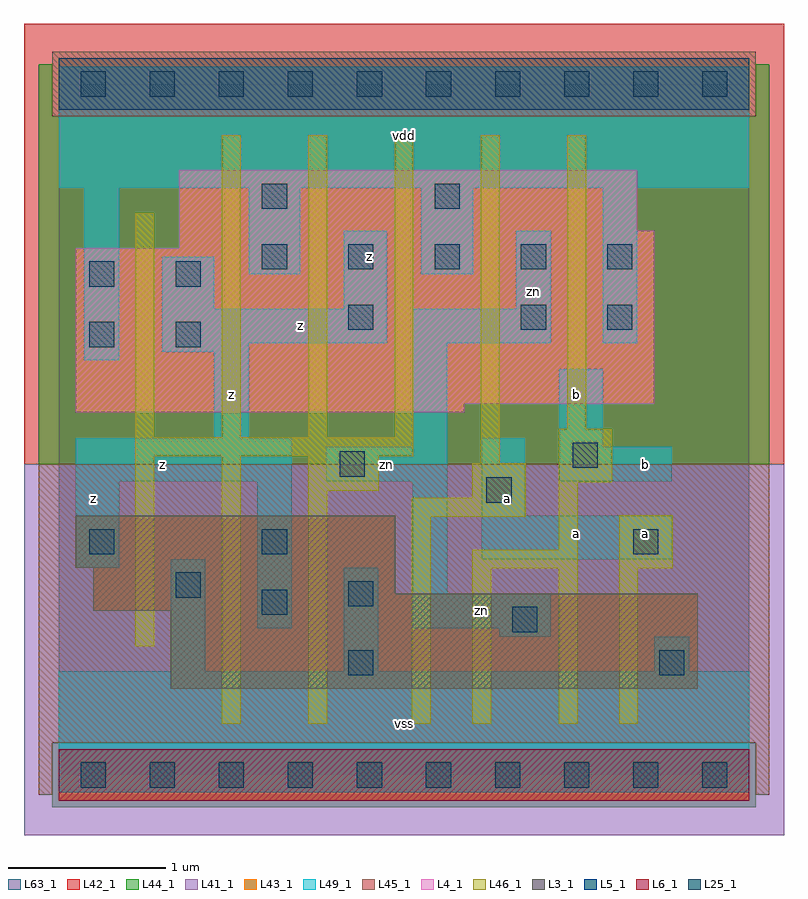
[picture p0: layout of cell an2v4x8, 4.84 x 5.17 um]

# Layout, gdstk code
import gdstk
lib = gdstk.Library(unit=1e-6, precision=1e-09)
def R(c, l, rs):  # rectangles x0, y0, x1, y1
    for r in rs: c.add(gdstk.rectangle(r[:2], r[2:], *l))
def A(c, l, x, y, w, h, nx, ny, dx, dy):  # array of equal rectangles
    R(c, l, [(x+i*dx, y+j*dy, x+i*dx+w, y+j*dy+h) for i in range(nx) for j in range(ny)])
L3_1 = (3, 1)
L4_1 = (4, 1)
L5_1 = (5, 1)
L6_1 = (6, 1)
L25_1 = (25, 1)
L41_1 = (41, 1)
L42_1 = (42, 1)
L43_1 = (43, 1)
L44_1 = (44, 1)
L45_1 = (45, 1)
L46_1 = (46, 1)
L49_1 = (49, 1)
L63_1 = (63, 1)

an2v4x8 = lib.new_cell('an2v4x8')
R(an2v4x8, L3_1, [(0.715,0.55,4.07,1.045), (0.22,1.045,4.07,1.155), (0.22,1.155,2.145,1.32), (0.11,1.32,2.145,1.65)])
R(an2v4x8, L4_1, [(0.11,2.31,2.585,2.365), (0.11,2.365,3.795,3.355), (0.77,3.355,3.795,3.465), (0.77,3.465,3.685,3.85)])
R(an2v4x8, L5_1, [(0,4.235,4.4,4.565)])
R(an2v4x8, L6_1, [(0,-0.165,4.4,0.165)])
A(an2v4x8, L25_1, 0.14, -0.08, 0.16, 0.16, 10, 2, 0.44, 4.4)
A(an2v4x8, L25_1, 1.295, 3.22, 0.16, 0.16, 5, 1, 0.55, 0)
R(an2v4x8, L25_1, [(1.845,0.635,2.005,0.795), (3.825,0.635,3.985,0.795), (2.89,0.91,3.05,1.07), (1.295,1.02,1.455,1.18), (1.845,1.075,2.005,1.235), (0.745,1.13,0.905,1.29), (0.195,1.405,0.355,1.565), (1.295,1.405,1.455,1.565), (3.66,1.405,3.82,1.565), (2.725,1.735,2.885,1.895), (1.79,1.9,1.95,2.06), (3.275,1.955,3.435,2.115), (0.195,2.725,0.355,2.885), (0.745,2.725,0.905,2.885), (1.845,2.835,2.005,2.995), (2.945,2.835,3.105,2.995), (3.495,2.835,3.655,2.995), (0.195,3.11,0.355,3.27), (0.745,3.11,0.905,3.27), (1.295,3.605,1.455,3.765), (2.395,3.605,2.555,3.765)])
R(an2v4x8, L41_1, [(-0.22,-0.385,4.62,1.98)])
R(an2v4x8, L42_1, [(-0.22,1.98,4.62,4.785)])
R(an2v4x8, L43_1, [(0,-0.165,4.4,0.165), (0.715,0.55,4.07,1.045), (0.22,1.045,4.07,1.155), (0.22,1.155,2.145,1.32), (0.11,1.32,2.145,1.65), (0.11,2.31,2.585,2.365), (0.11,2.365,3.795,3.355), (0.77,3.355,3.795,3.465), (0.77,3.465,3.685,3.85), (0,4.235,4.4,4.565)])
R(an2v4x8, L44_1, [(-0.04,-0.205,4.44,0.205), (-0.125,1.98,4.525,4.195), (-0.125,4.195,-0.04,4.525), (4.44,4.195,4.525,4.525)])
R(an2v4x8, L45_1, [(-0.125,-0.125,-0.04,0.205), (4.44,-0.125,4.525,0.205), (-0.125,0.205,4.525,1.98), (-0.04,4.195,4.44,4.605)])
A(an2v4x8, L46_1, 1.04, 2.15, 0.12, 1.925, 3, 1, 0.55, 0)
R(an2v4x8, L46_1, [(1.04,0.325,1.16,2.03), (1.59,0.325,1.71,1.81), (2.25,0.325,2.37,1.645), (2.635,0.325,2.755,1.315), (3.185,0.325,3.305,1.315), (3.57,0.325,3.69,1.315), (0.49,0.82,0.61,2.03), (2.635,1.315,3.305,1.435), (3.57,1.315,3.91,1.655), (3.185,1.435,3.305,1.865), (2.25,1.645,2.975,1.765), (2.635,1.765,2.975,1.985), (1.59,1.81,2.04,2.03), (3.185,1.865,3.525,2.205), (2.69,1.985,2.81,4.075), (0.49,2.03,2.26,2.15), (0.49,2.15,0.61,3.58), (3.24,2.205,3.36,4.075)])
R(an2v4x8, L49_1, [(0,-0.11,4.4,0.66), (0.715,0.66,0.935,1.375), (1.815,0.66,2.035,1.32), (3.795,0.66,4.015,0.88), (2.805,0.88,3.135,0.935), (1.265,0.935,1.485,1.87), (2.255,0.935,3.135,1.155), (2.255,1.155,2.475,1.87), (0.11,1.32,0.385,1.87), (2.695,1.375,3.905,1.65), (2.695,1.65,2.97,2.145), (0.11,1.87,1.485,2.145), (1.705,1.87,2.475,2.09), (3.19,1.87,3.905,2.09), (2.255,2.09,2.475,2.75), (3.19,2.09,3.465,2.585), (0.99,2.145,1.21,2.695), (0.165,2.64,0.385,3.74), (0.66,2.695,1.21,2.75), (0.66,2.75,2.09,2.97), (2.255,2.75,3.135,2.97), (3.465,2.75,3.685,3.74), (0.66,2.97,0.99,3.3), (1.815,2.97,2.09,3.465), (2.915,2.97,3.135,3.465), (1.21,3.19,1.54,3.74), (2.31,3.19,2.64,3.74), (0,3.74,4.4,4.51)])
R(an2v4x8, L63_1, [(0,0,4.4,4.4)])
an2v4x8.add(gdstk.Label('z', (0.22,1.76), layer=49, texttype=1))
an2v4x8.add(gdstk.Label('z', (0.66,1.98), layer=49, texttype=1))
an2v4x8.add(gdstk.Label('z', (1.1,2.42), layer=49, texttype=1))
an2v4x8.add(gdstk.Label('z', (1.54,2.86), layer=49, texttype=1))
an2v4x8.add(gdstk.Label('vss', (2.2,0.33), layer=49, texttype=1))
an2v4x8.add(gdstk.Label('zn', (2.09,1.98), layer=49, texttype=1))
an2v4x8.add(gdstk.Label('z', (1.98,3.3), layer=49, texttype=1))
an2v4x8.add(gdstk.Label('vdd', (2.2,4.07), layer=49, texttype=1))
an2v4x8.add(gdstk.Label('zn', (2.695,1.045), layer=49, texttype=1))
an2v4x8.add(gdstk.Label('a', (3.3,1.54), layer=49, texttype=1))
an2v4x8.add(gdstk.Label('a', (2.86,1.76), layer=49, texttype=1))
an2v4x8.add(gdstk.Label('b', (3.3,2.42), layer=49, texttype=1))
an2v4x8.add(gdstk.Label('zn', (3.025,3.08), layer=49, texttype=1))
an2v4x8.add(gdstk.Label('a', (3.74,1.54), layer=49, texttype=1))
an2v4x8.add(gdstk.Label('b', (3.74,1.98), layer=49, texttype=1))

lib.write_gds('an2v4x8.gds')
